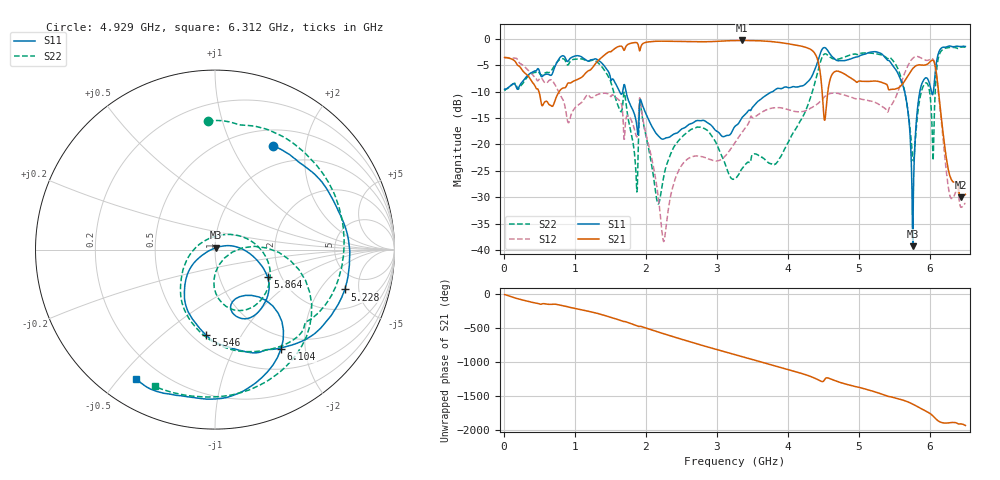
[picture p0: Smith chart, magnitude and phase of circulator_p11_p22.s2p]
!Keysight Technologies,P9371A,MY57211172,A.13.10.05
!Date: Monday, March 30, 2026 15:49:45
!Correction: S11(Full 2 Port(1,2))
!S21(Full 2 Port(1,2))
!S12(Full 2 Port(1,2))
!S22(Full 2 Port(1,2))
!S2P File: Measurements: S11, S21, S12, S22:
# Hz S  dB  R 50
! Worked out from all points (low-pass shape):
!   1001 points, 10 MHz to 6.5 GHz, reference 50 ohm
!   highest |S21| = -0.30 dB at 3.352 GHz (marker M1); lowest = -30.0 dB at 6.435 GHz (marker M2)
!   |S21| within 3 dB of the highest: 1.394 GHz to 4.401 GHz (3.007 GHz wide, 104 % of centre)
!   lowest |S11| = -39.3 dB at 5.76 GHz (marker M3), VSWR 1.02, Z = 50.4 + j1.02 ohm
!   |S11| at or under -10 dB: 1.628 GHz to 1.673 GHz (44.53 MHz wide, 2.7 % of centre); 1.72 GHz to 3.783 GHz (2.063 GHz wide, 75 % of centre); 5.644 GHz to 5.858 GHz (213.8 MHz wide, 3.72 % of centre)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
!   |S22| runs from -31.3 to -1.5 dB; largest |S21 - S12| = 1.1
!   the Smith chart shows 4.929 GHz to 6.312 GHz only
!   S11 on the Smith chart (normalised r, x): 4.929 GHz: 0.71, +1.46; 5.228 GHz: 3.40, -3.53; 5.546 GHz: 0.58, -0.71; 5.864 GHz: 1.70, -0.59; 6.104 GHz: 0.79, -1.57; 6.312 GHz: 0.11, -0.56
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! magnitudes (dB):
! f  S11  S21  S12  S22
! 10 MHz  -9.5  -3.5  -3.5  -9.6
! 1.094 GHz  -3.4  -7.3  -12.1  -3.8
! 1.71 GHz  -9.4  -1.7  -16.2  -11.2
! 1.853 GHz  -15.0  -0.7  -17.9  -23.9
! 1.931 GHz  -11.7  -1.4  -12.6  -13.0
! 2.178 GHz  -18.4  -0.4  -30.3  -31.3
! 2.703 GHz  -15.5  -0.5  -22.2  -16.8
! 3.255 GHz  -16.6  -0.3  -19.6  -26.5
! 3.352 GHz  -15.0  -0.3  -17.7  -24.6
! 4.339 GHz  -7.1  -2.2  -13.0  -10.3
! 4.521 GHz  -1.7  -15.4  -10.9  -2.8
! 4.929 GHz  -3.6  -7.8  -11.2  -2.9
! 5.228 GHz  -2.4  -8.0  -12.0  -2.8
! 5.423 GHz  -4.1  -9.7  -13.3  -3.5
! 5.546 GHz  -6.4  -9.4  -10.1  -5.6
! 5.76 GHz  -39.3  -5.6  -3.7  -22.8
! 5.864 GHz  -9.6  -4.9  -3.5  -10.9
! 6.039 GHz  -10.6  -4.0  -3.8  -20.9
! 6.104 GHz  -3.6  -7.9  -8.1  -4.7
! 6.312 GHz  -1.5  -26.8  -30.2  -1.6
! 6.435 GHz  -1.4  -30.0  -31.9  -1.6
! 6.5 GHz  -1.4  -29.5  -31.2  -1.6
